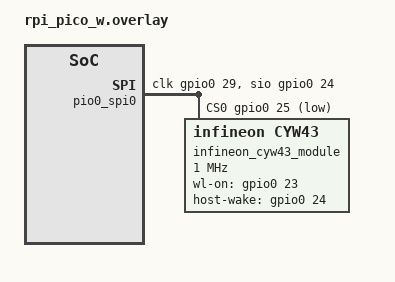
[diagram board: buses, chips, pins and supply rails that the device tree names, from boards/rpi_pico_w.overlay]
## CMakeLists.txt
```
cmake_minimum_required(VERSION 3.20.0)

find_package(Zephyr REQUIRED HINTS $ENV{ZEPHYR_BASE})
project(app LANGUAGES C)

target_sources(app PRIVATE
  src/main.c
)
```

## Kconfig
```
config APP_DHCP_BIND
	bool "Use DHCP for address"
	depends on NET_L2_ETHERNET
	depends on NET_DHCPV4
	help
	  Obtain an IPv4 address from the DHCP server.

config APP_WIFI
	bool "WiFi utilities for application"
	depends on NET_L2_WIFI_MGMT
	help
	  Enable utilities for easy WiFi setup.

if APP_WIFI

config APP_WIFI_STACK_SIZE
	int "WiFi manager stack size"
	default 2048

config APP_WIFI_INIT_PRIORITY
	int "WiFi manager init priority"
	default 90

config APP_WIFI_THREAD_PRIORITY
	int "WiFi manager thread priority"
	default 7

endif # APP_WIFI

config APP_WIFI_SETTINGS
	bool "Load SSID and PSK from settings subsystem"
	depends on APP_WIFI
	depends on SETTINGS
	help
	  Load WiFi SSID and PSK from settings subsystem, from 'wifi/ssid' and
	  'wifi/psk' entries.

if APP_WIFI && !APP_WIFI_SETTINGS

config APP_WIFI_SSID
	string "WiFi SSID"
	help
	  WiFi SSID used when connecting to WiFi AP.

config APP_WIFI_PSK
	string "WiFi PSK"
	help
	  WiFi PSK used when connecting to WiFi AP. Leave empty if connecting to
	  unsecure (open) AP.

endif # APP_WIFI && !APP_WIFI_SETTINGS

menu "Zephyr"
source "Kconfig.zephyr"
endmenu

module = APP
module-str = APP
source "subsys/logging/Kconfig.template.log_config"
```

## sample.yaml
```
# This file is provided so that the application can be compiled using Twister,
# the Zephyr testing tool. In this file, multiple combinations can be specified,
# so that you can easily test all of them locally or in CI.
sample:
  description: Example application
  name: example-application
common:
  build_only: true
  integration_platforms:
    - rpi_pico/rp2040/w
tests:
  app.default: {}
  app.debug:
    extra_overlay_confs:
      - debug.conf
```

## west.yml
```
manifest:
  self:
    path: pico_fw

  remotes:
    - name: zephyrproject-rtos
      url-base: https://github.com/zephyrproject-rtos
    - name: beechwoods-software
      url-base: https://github.com/beechwoods-software/

  projects:
    - name: zephyr
      remote: zephyrproject-rtos
      revision: main
      import:
        # By using name-allowlist we can clone only the modules that are
        # strictly needed by the application.
        name-allowlist:
          - cmsis
          - hal_rpi_pico
          - mbedtls
          - mcuboot

    - name: cyw43
      repo-path: zephyr-cyw43-driver
      remote: beechwoods-software
      path: modules/lib/cyw43
      revision: main
      submodules:
        - name: drivers/wifi/zephyr_cyw43/src/cyw43-driver
          path: drivers/wifi/zephyr_cyw43/src/cyw43-driver
```

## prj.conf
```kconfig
# CONFIG_SENSOR=y

# CONFIG_ZBUS=y
# CONFIG_ZBUS_LOG_LEVEL_INF=y
# CONFIG_ZBUS_CHANNEL_NAME=y
# CONFIG_ZBUS_OBSERVER_NAME=y
# CONFIG_ZBUS_RUNTIME_OBSERVERS=y

CONFIG_LOG_PROCESS_THREAD_STACK_SIZE=1024
CONFIG_NET_MGMT_EVENT_STACK_SIZE=2048
CONFIG_SHELL_STACK_SIZE=2560

CONFIG_NET_LOG=y
#CONFIG_NET_IF_LOG_LEVEL_DBG=y
#CONFIG_NET_PKT_LOG_LEVEL_DBG=y
#CONFIG_WIFI_LOG_LEVEL_DBG=y
#CONFIG_NET_CAPTURE_LOG_LEVEL_DBG=y
#CONFIG_DNS_RESOLVER_LOG_LEVEL_DBG=y

CONFIG_POSIX_API=y

# In-tree AIROC driver for the onboard CYW43439 (airoc-wifi node in the
# board devicetree; firmware blobs from hal_infineon via `poe blobs-fetch`).
CONFIG_WIFI=y
CONFIG_WIFI_AIROC=y

# WiFi connection management: conn_mgr + the CONNECTIVITY_WIFI_MGMT
# implementation from the rosterloh-drivers module (the AIROC driver binds
# it to its iface). Set your network's credentials below before flashing.
CONFIG_NET_CONNECTION_MANAGER=y
CONFIG_NET_CONNECTION_MANAGER_CONNECTIVITY_WIFI_MGMT=y
CONFIG_WIFI_CREDENTIALS=y
CONFIG_WIFI_CREDENTIALS_STATIC=y
CONFIG_WIFI_CREDENTIALS_STATIC_SSID="set-your-ssid"
CONFIG_WIFI_CREDENTIALS_STATIC_PASSWORD="set-your-psk"
CONFIG_WIFI_CONNECTIVITY=y

CONFIG_UART_CONSOLE_DEBUG_SERVER_HOOKS=n

CONFIG_ENTROPY_GENERATOR=y
CONFIG_TEST_RANDOM_GENERATOR=y

CONFIG_NETWORKING=y
CONFIG_NET_L2_ETHERNET=y
CONFIG_INIT_STACKS=y
CONFIG_NET_STATISTICS=y
CONFIG_NET_STATISTICS_WIFI=y
CONFIG_NET_STATISTICS_USER_API=y

CONFIG_NET_SHELL=y
CONFIG_NET_CONFIG_SETTINGS=y
CONFIG_NET_CONFIG_INIT_TIMEOUT=60
CONFIG_NET_CONFIG_AUTO_INIT=n
CONFIG_NET_L2_WIFI_SHELL=y

CONFIG_NET_UDP=y
CONFIG_NET_TCP=y

CONFIG_NET_MGMT=y
CONFIG_NET_MGMT_EVENT=y
CONFIG_WIFI_MGMT_RAW_SCAN_RESULTS=y
CONFIG_NET_MGMT_EVENT_MONITOR=y

CONFIG_NET_IPV6=n
CONFIG_NET_IPV4=y
CONFIG_NET_DHCPV4=y

CONFIG_DNS_RESOLVER=y
CONFIG_DNS_RESOLVER_ADDITIONAL_BUF_CTR=5
CONFIG_DNS_RESOLVER_ADDITIONAL_QUERIES=2
CONFIG_MDNS_RESOLVER=y
CONFIG_DNS_SERVER_IP_ADDRESSES=y
CONFIG_DNS_SERVER1="8.8.8.8"
```

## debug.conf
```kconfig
# compiler
CONFIG_DEBUG_OPTIMIZATIONS=y

# console
CONFIG_CONSOLE=y

# UART console
CONFIG_SERIAL=y
CONFIG_UART_CONSOLE=y

# logging
CONFIG_LOG=y
CONFIG_APP_LOG_LEVEL_DBG=y
```

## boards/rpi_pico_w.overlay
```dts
&pinctrl {
	pio0_spi0_default: pio0_spi0_default {
		/* gpio 25 is used for chip select, not assigned to the PIO */
		group1 {
			pinmux = <PIO0_P29>, <PIO0_P23>;
		};
	};
};

&pio0 {
	status = "okay";

	pio0_spi0: pio0_spi0 {
		pinctrl-0 = <&pio0_spi0_default>;
		pinctrl-names = "default";

		compatible = "custom_raspberrypi,pico-spi-pio";
		status = "okay";
		#address-cells = <1>;
		#size-cells = <0>;
		clocks = <&clk_sys>;
		cs-gpios = <&gpio0 25 GPIO_ACTIVE_LOW>;
		clk-gpios = <&gpio0 29 GPIO_ACTIVE_HIGH>;
		sio-gpios = <&gpio0 24 GPIO_ACTIVE_HIGH>;
		infineon_cyw43_module: infineon_cyw43_module@0 {
			compatible = "infineon,cyw43";
			reg = <0x0>;
			spi-max-frequency = <1000000>;
			wl-on-gpios = < &gpio0 23 GPIO_ACTIVE_HIGH >;
			host-wake-gpios = <&gpio0 24 GPIO_ACTIVE_HIGH>;

			cyw43_led: cyw43_led { /* Pico W LED is on CYW43439 GPIO 0 */
				compatible = "infineon,cyw43_led";
			};
			cyw43_gpio: cyw43_gpio {
				compatible = "infineon,cyw43_gpio";
			};
		};
	};
};
```

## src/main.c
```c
#include <zephyr/kernel.h>
#include <zephyr/net/net_config.h>
#include <zephyr/app_version.h>

#include <zephyr/logging/log.h>
LOG_MODULE_REGISTER(main, CONFIG_APP_LOG_LEVEL);

/* WiFi association is handled by conn_mgr: the in-tree AIROC driver binds
 * CONNECTIVITY_WIFI_MGMT, implemented by the wifi_connectivity module using
 * CONFIG_WIFI_CREDENTIALS_STATIC_SSID/_PASSWORD.
 */
int main(void)
{
	LOG_INF("Zephyr Application %s", APP_VERSION_STRING);

	(void)net_config_init_app(NULL, "Initialising network");

	return 0;
}
```

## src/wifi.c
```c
#include <zephyr/device.h>
#include <zephyr/kernel.h>
#include <zephyr/net/net_mgmt.h>
#include <zephyr/net/wifi_mgmt.h>
#include <zephyr/pm/device.h>
#include <zephyr/settings/settings.h>
#include <zephyr/shell/shell.h>

#include <zephyr/logging/log.h>
LOG_MODULE_REGISTER(wifi, LOG_LEVEL_INF);

#define RESET_AFTER_DISCONNECT_AND_EMPTY_SCAN_RESULT                                               \
	IS_ENABLED(CONFIG_WIFI_MANAGER_RESET_AFTER_DISCONNECT_AND_EMPTY_SCAN_RESULT)

#define WIFI_MANAGER_MGMT_EVENTS (NET_EVENT_WIFI_CONNECT_RESULT | NET_EVENT_WIFI_DISCONNECT_RESULT)

#define NET_STATE_WIFI_CONNECTED  BIT(0)
#define NET_STATE_WIFI_CONNECTING BIT(1)
#define NET_STATE_IPV4_READY      BIT(2)

enum wifi_state {
	WIFI_STATE_IDLE,
	WIFI_STATE_WAITING_FOR_LOWER_UP,
	WIFI_STATE_CONNECTING,
	WIFI_STATE_DISCONNECTING,
	WIFI_STATE_READY,
	WIFI_STATE_LAST = WIFI_STATE_READY,
	WIFI_STATE_INVALID,
	WIFI_STATE_WAIT,
};

enum wifi_event {
	WIFI_EVENT_START,
	WIFI_EVENT_LOWER_UP,
	WIFI_EVENT_CONNECTED,
	WIFI_EVENT_DISCONNECTED,
	WIFI_EVENT_IP_ADD,
	WIFI_EVENT_IP_DEL,
};

struct wifi_manager_config {
	k_thread_stack_t *workq_stack;
	size_t workq_stack_size;
	struct k_work_queue_config workq_config;
};

enum wifi_manager_flags {
	WIFI_FLAG_ENABLE,
	WIFI_FLAG_RECONNECT,
};

struct wifi_manager_data {
	struct net_if *iface;

	struct k_work_q workq;
	enum wifi_state state;

	atomic_t net_state;
	struct k_work net_mgmt_event_work;
	int net_state_old;

	atomic_t flags;

	enum wifi_event event;
	struct k_work event_work;

	struct net_mgmt_event_callback ipv4_mgmt_cb;
	struct net_mgmt_event_callback wifi_mgmt_cb;
};

static const char *wifi_state_str(enum wifi_state state)
{
	switch (state) {
	case WIFI_STATE_IDLE:
		return "IDLE";
	case WIFI_STATE_WAITING_FOR_LOWER_UP:
		return "WAIT_FOR_LOWER_UP";
	case WIFI_STATE_CONNECTING:
		return "CONNECTING";
	case WIFI_STATE_DISCONNECTING:
		return "DISCONNECTING";
	case WIFI_STATE_READY:
		return "READY";
	case WIFI_STATE_INVALID:
		return "INVALID";
	case WIFI_STATE_WAIT:
	default:
		return "WAIT";
	}

	return "";
}

static const char *wifi_event_str(enum wifi_event event)
{
	switch (event) {
	case WIFI_EVENT_START:
		return "START";
	case WIFI_EVENT_LOWER_UP:
		return "LOWER_UP";
	case WIFI_EVENT_CONNECTED:
		return "CONNECTED";
	case WIFI_EVENT_DISCONNECTED:
		return "DISCONNECTED";
	case WIFI_EVENT_IP_ADD:
		return "IP_ADD";
	case WIFI_EVENT_IP_DEL:
		return "IP_DEL";
	}

	return "";
}

#define MAP_OFFSET 1

#define IDL      (WIFI_STATE_IDLE + MAP_OFFSET)
#define LUP      (WIFI_STATE_WAITING_FOR_LOWER_UP + MAP_OFFSET)
#define CON      (WIFI_STATE_CONNECTING + MAP_OFFSET)
#define DIS      (WIFI_STATE_DISCONNECTING + MAP_OFFSET)
#define RDY      (WIFI_STATE_READY + MAP_OFFSET)
#define INV      (WIFI_STATE_INVALID + MAP_OFFSET)
#define WAIT(ms) (WIFI_STATE_WAIT + MAP_OFFSET + (ms))

static const int wifi_state_change_map[][WIFI_STATE_LAST + 1] = {
	/* IDL, LUP, CON, DIS, RDY */
	[WIFI_EVENT_START] = {LUP, WAIT(100), INV, INV, INV},
	[WIFI_EVENT_LOWER_UP] = {INV, CON, INV, INV, INV},
	[WIFI_EVENT_CONNECTED] = {INV, INV, 0, WAIT(3000), 0},
	[WIFI_EVENT_DISCONNECTED] = {INV, INV, WAIT(1000), IDL, CON},
	[WIFI_EVENT_IP_ADD] = {INV, INV, RDY, RDY, 0},
	[WIFI_EVENT_IP_DEL] = {INV, INV, 0, 0, CON},
};

static uint8_t wifi_ssid[] = CONFIG_APP_WIFI_SSID;
static size_t wifi_ssid_len = sizeof(CONFIG_APP_WIFI_SSID) - 1;
static uint8_t wifi_psk[] = CONFIG_APP_WIFI_PSK;
static size_t wifi_psk_len = sizeof(CONFIG_APP_WIFI_PSK) - 1;

static void wifi_event_notify(struct wifi_manager_data *wifi_mgmt, enum wifi_event event)
{
	wifi_mgmt->event = event;
	k_work_submit_to_queue(&wifi_mgmt->workq, &wifi_mgmt->event_work);
}

/**
 * @brief Update CONNECTING flag from wifi_mgmt workqueue
 *
 * @note This function needs to be used only from within workqueue, as it
 * accesses both atomic 'net_state' and unprotected 'net_state_old'.
 * 'net_state_old' is altered to make clear that CONNECTING state is up-to-date
 * with workqueue processing logic.
 */
static void wifi_mgmt_connecting_update(struct wifi_manager_data *wifi_mgmt, bool connecting)
{
	if (connecting) {
		atomic_or(&wifi_mgmt->net_state, NET_STATE_WIFI_CONNECTING);
		wifi_mgmt->net_state_old |= NET_STATE_WIFI_CONNECTING;
	} else {
		atomic_and(&wifi_mgmt->net_state, ~NET_STATE_WIFI_CONNECTING);
		wifi_mgmt->net_state_old &= ~NET_STATE_WIFI_CONNECTING;
	}
}

static void wifi_connect(struct wifi_manager_data *wifi_mgmt)
{
	struct wifi_connect_req_params params = {
		.ssid = wifi_ssid,
		.ssid_length = wifi_ssid_len,
		.psk = wifi_psk,
		.psk_length = wifi_psk_len,
		.channel = WIFI_CHANNEL_ANY,
		.security = wifi_psk_len > 0 ? WIFI_SECURITY_TYPE_PSK : WIFI_SECURITY_TYPE_NONE,
	};
	int err;

	LOG_INF("Connecting to '%.*s'", wifi_ssid_len, wifi_ssid);

	wifi_mgmt_connecting_update(wifi_mgmt, true);

	err = net_mgmt(NET_REQUEST_WIFI_CONNECT, wifi_mgmt->iface, &params, sizeof(params));
	if (err == -EALREADY) {
		LOG_INF("already connected");

		wifi_mgmt_connecting_update(wifi_mgmt, false);

		if (atomic_test_and_clear_bit(&wifi_mgmt->flags, WIFI_FLAG_RECONNECT)) {
			LOG_INF("reconnecting");

			err = net_mgmt(NET_REQUEST_WIFI_DISCONNECT, wifi_mgmt->iface, NULL, 0);
			if (err) {
				LOG_ERR("failed to request disconnect: %d", err);
				goto handle_err;
			}
		} else {
			wifi_event_notify(wifi_mgmt, WIFI_EVENT_CONNECTED);
		}
	} else if (err) {
		LOG_ERR("failed to request connect: %d", err);
		goto handle_err;
	}

	return;

handle_err:
	wifi_mgmt_connecting_update(wifi_mgmt, false);
	wifi_event_notify(wifi_mgmt, WIFI_EVENT_DISCONNECTED);
}

static void wifi_disconnect(struct wifi_manager_data *wifi_mgmt)
{
	int err;

	err = net_mgmt(NET_REQUEST_WIFI_DISCONNECT, wifi_mgmt->iface, NULL, 0);
	if (err) {
		LOG_ERR("failed to request disconnect: %d", err);
		wifi_event_notify(wifi_mgmt, WIFI_EVENT_DISCONNECTED);
	}
}

static void wifi_check_lower_up(struct wifi_manager_data *wifi_mgmt)
{
	if (net_if_flag_is_set(wifi_mgmt->iface, NET_IF_LOWER_UP)) {
		wifi_event_notify(wifi_mgmt, WIFI_EVENT_LOWER_UP);
	} else {
		wifi_event_notify(wifi_mgmt, WIFI_EVENT_START);
	}
}

static void wifi_ready(struct wifi_manager_data *wifi_mgmt)
{
	LOG_DBG("ready");
}

static void wifi_state_change(struct wifi_manager_data *wifi_mgmt, enum wifi_state state)
{
	LOG_DBG("state %s (%d) -> %s (%d)", wifi_state_str(wifi_mgmt->state), wifi_mgmt->state,
		wifi_state_str(state), state);

	wifi_mgmt->state = state;
}

static void net_mgmt_event_handle(struct k_work *work)
{
	struct wifi_manager_data *wifi_mgmt =
		CONTAINER_OF(work, struct wifi_manager_data, net_mgmt_event_work);
	atomic_val_t net_state = atomic_get(&wifi_mgmt->net_state);

	if (wifi_mgmt->net_state_old == net_state) {
		/* Nothing to do */
		return;
	}

	if (net_state & NET_STATE_IPV4_READY) {
		wifi_event_notify(wifi_mgmt, WIFI_EVENT_IP_ADD);
	} else if (net_state & NET_STATE_WIFI_CONNECTED) {
		if (wifi_mgmt->net_state_old & NET_STATE_WIFI_CONNECTED) {
			wifi_event_notify(wifi_mgmt, WIFI_EVENT_IP_DEL);
		} else {
			wifi_event_notify(wifi_mgmt, WIFI_EVENT_CONNECTED);
		}
	} else {
		wifi_event_notify(wifi_mgmt, WIFI_EVENT_DISCONNECTED);
	}

	wifi_mgmt->net_state_old = net_state;
}

static void wifi_event_handle(struct k_work *work)
{
	struct wifi_manager_data *wifi_mgmt =
		CONTAINER_OF(work, struct wifi_manager_data, event_work);
	enum wifi_event event = wifi_mgmt->event;
	enum wifi_state old_state = wifi_mgmt->state;
	int map_value = wifi_state_change_map[event][old_state];
	enum wifi_state new_state = map_value - MAP_OFFSET;
	int sleep_msec = 0;

	if (map_value - MAP_OFFSET >= WIFI_STATE_WAIT) {
		new_state = old_state;
		sleep_msec = map_value - MAP_OFFSET - (int)WIFI_STATE_WAIT;
	}

	if (map_value == 0) {
		LOG_DBG("Nothing to do according to state map (state %s[%d])",
			wifi_state_str(old_state), (int)old_state);
		return;
	}

	LOG_DBG("event %s (%d) (%s[%d] -> %s[%d])", wifi_event_str(event), event,
		wifi_state_str(old_state), (int)old_state, wifi_state_str(new_state),
		(int)new_state);

	if (new_state == WIFI_STATE_INVALID) {
		LOG_ERR("Invalid event %s (%d) during state %s (%d)", wifi_event_str(event), event,
			wifi_state_str(old_state), old_state);
		return;
	}

	if (new_state == WIFI_STATE_INVALID) {
		return;
	}

	wifi_state_change(wifi_mgmt, new_state);

	if (new_state == old_state) {
		/* Give a bit of time between retries */
		LOG_DBG("Sleeping for %d ms", sleep_msec);
		k_sleep(K_MSEC(sleep_msec));
	}

	switch (new_state) {
	case WIFI_STATE_IDLE:
		break;
	case WIFI_STATE_WAITING_FOR_LOWER_UP:
		wifi_check_lower_up(wifi_mgmt);
		break;
	case WIFI_STATE_CONNECTING:
		wifi_connect(wifi_mgmt);
		break;
	case WIFI_STATE_DISCONNECTING:
		wifi_disconnect(wifi_mgmt);
		break;
	case WIFI_STATE_READY:
		wifi_ready(wifi_mgmt);
		break;
	case WIFI_STATE_INVALID:
	case WIFI_STATE_WAIT:
		break;
	}
}

static inline atomic_val_t atomic_update(atomic_t *target, atomic_val_t value, atomic_val_t mask)
{
	atomic_val_t flags;

	do {
		flags = atomic_get(target);
	} while (!atomic_cas(target, flags, (flags & ~mask) | value));

	return flags;
}

static void ipv4_changed(struct net_mgmt_event_callback *cb, uint32_t mgmt_event,
			 struct net_if *iface)
{
	struct wifi_manager_data *wifi_mgmt =
		CONTAINER_OF(cb, struct wifi_manager_data, ipv4_mgmt_cb);

	LOG_DBG("ipv4 event: %x", (unsigned int)mgmt_event);

	switch (mgmt_event) {
	case NET_EVENT_IPV4_ADDR_ADD:
		atomic_or(&wifi_mgmt->net_state, NET_STATE_IPV4_READY);
		k_work_submit_to_queue(&wifi_mgmt->workq, &wifi_mgmt->net_mgmt_event_work);
		break;
	case NET_EVENT_IPV4_ADDR_DEL:
		atomic_and(&wifi_mgmt->net_state, ~NET_STATE_IPV4_READY);
		k_work_submit_to_queue(&wifi_mgmt->workq, &wifi_mgmt->net_mgmt_event_work);
		break;
	}
}

static inline int wifi_connect_error(const struct wifi_status *status)
{
	return status->status;
}

static void wifi_mgmt_event_handler(struct net_mgmt_event_callback *cb, uint32_t mgmt_event,
				    struct net_if *iface)
{
	struct wifi_manager_data *wifi_mgmt =
		CONTAINER_OF(cb, struct wifi_manager_data, wifi_mgmt_cb);
	const struct wifi_status *status = cb->info;

	LOG_DBG("wifi event: %x", (unsigned int)mgmt_event);

	switch (mgmt_event) {
	case NET_EVENT_WIFI_CONNECT_RESULT:
		if (wifi_connect_error(status)) {
			atomic_and(&wifi_mgmt->net_state,
				   ~(NET_STATE_WIFI_CONNECTED | NET_STATE_WIFI_CONNECTING |
				     NET_STATE_IPV4_READY));
		} else {
			atomic_update(&wifi_mgmt->net_state, NET_STATE_WIFI_CONNECTED,
				      (NET_STATE_WIFI_CONNECTED | NET_STATE_WIFI_CONNECTING));
		}
		k_work_submit_to_queue(&wifi_mgmt->workq, &wifi_mgmt->net_mgmt_event_work);
		break;
	case NET_EVENT_WIFI_DISCONNECT_RESULT:
		atomic_and(&wifi_mgmt->net_state,
			   ~(NET_STATE_WIFI_CONNECTED | NET_STATE_WIFI_CONNECTING |
			     NET_STATE_IPV4_READY));
		k_work_submit_to_queue(&wifi_mgmt->workq, &wifi_mgmt->net_mgmt_event_work);
		break;
	default:
		break;
	}
}

static struct wifi_manager_data wifi_manager_data;

K_THREAD_STACK_DEFINE(wifi_manager_work_q_stack, CONFIG_APP_WIFI_STACK_SIZE);

static const struct wifi_manager_config wifi_manager_config = {
	.workq_stack = wifi_manager_work_q_stack,
	.workq_stack_size = K_THREAD_STACK_SIZEOF(wifi_manager_work_q_stack),
	.workq_config =
		{
			.name = "wifi_manager",
		},
};

static int wifi_manager_init(void)
{
	struct wifi_manager_data *wifi_mgmt = &wifi_manager_data;
	const struct wifi_manager_config *config = &wifi_manager_config;

	wifi_mgmt->iface = net_if_get_default();
	__ASSERT_NO_MSG(wifi_mgmt->iface);

	k_work_queue_start(&wifi_mgmt->workq, config->workq_stack, config->workq_stack_size,
			   CONFIG_APP_WIFI_THREAD_PRIORITY, &config->workq_config);
	k_work_init(&wifi_mgmt->event_work, wifi_event_handle);
	k_work_init(&wifi_mgmt->net_mgmt_event_work, net_mgmt_event_handle);

	net_mgmt_init_event_callback(&wifi_mgmt->ipv4_mgmt_cb, ipv4_changed,
				     NET_EVENT_IPV4_ADDR_ADD | NET_EVENT_IPV4_ADDR_DEL);
	net_mgmt_add_event_callback(&wifi_mgmt->ipv4_mgmt_cb);

	net_mgmt_init_event_callback(&wifi_mgmt->wifi_mgmt_cb, wifi_mgmt_event_handler,
				     WIFI_MANAGER_MGMT_EVENTS);
	net_mgmt_add_event_callback(&wifi_mgmt->wifi_mgmt_cb);

	wifi_event_notify(wifi_mgmt, WIFI_EVENT_START);
	k_work_submit_to_queue(&wifi_mgmt->workq, &wifi_mgmt->event_work);

	return 0;
}

SYS_INIT(wifi_manager_init, APPLICATION, APP_WIFI_INIT_PRIORITY);
```
